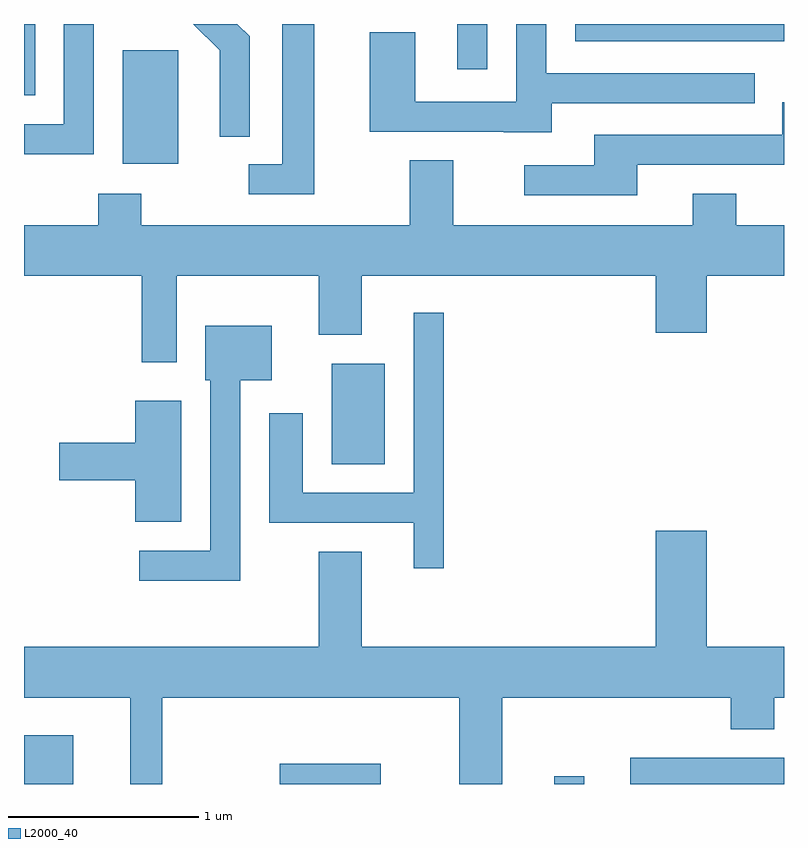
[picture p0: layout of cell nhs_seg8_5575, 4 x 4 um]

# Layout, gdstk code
import gdstk
lib = gdstk.Library(unit=1e-6, precision=1e-09)
def R(c, l, rs):  # rectangles x0, y0, x1, y1
    for r in rs: c.add(gdstk.rectangle(r[:2], r[2:], *l))
def P(c, l, *ps):  # polygons
    for p in ps: c.add(gdstk.Polygon(p, *l))
L2000_40 = (2000, 40)

nhs_seg8_5575 = lib.new_cell('nhs_seg8_5575')
R(nhs_seg8_5575, L2000_40, [(351.611,1900.342,351.869,1900.599), (352.958,1900.342,353.489,1900.449), (354.401,1900.342,354.559,1900.383), (354.803,1900.342,355.611,1900.479), (353.231,1902.026,353.509,1902.554), (352.131,1903.606,352.424,1904.204), (351.611,1903.966,351.669,1904.342), (353.891,1904.103,354.049,1904.342), (354.511,1904.251,355.611,1904.342)])
P(nhs_seg8_5575, L2000_40, [(351.979,1904.342),(351.821,1904.342),(351.821,1903.814),(351.611,1903.814),(351.611,1903.656),(351.979,1903.656)],
  [(354.389,1903.926),(355.458,1903.926),(355.458,1904.084),(354.359,1904.084),(354.359,1904.342),(354.201,1904.342),(354.201,1903.934),(353.669,1903.934),(353.669,1904.299),(353.431,1904.299),(353.431,1903.776),(354.135,1903.776),(354.135,1903.771),(354.389,1903.771)],
  [(353.139,1904.342),(352.971,1904.342),(352.971,1903.604),(352.793,1903.604),(352.793,1903.446),(353.139,1903.446)],
  [(352.799,1904.277),(352.734,1904.342),(352.503,1904.342),(352.641,1904.204),(352.641,1903.748),(352.799,1903.748)],
  [(354.839,1903.601),(355.611,1903.601),(355.611,1903.929),(355.601,1903.929),(355.601,1903.759),(354.611,1903.759),(354.611,1903.599),(354.243,1903.599),(354.243,1903.441),(354.839,1903.441)],
  [(352.414,1903.016),(353.161,1903.016),(353.161,1902.706),(353.389,1902.706),(353.389,1903.016),(354.936,1903.016),(354.936,1902.716),(355.204,1902.716),(355.204,1903.016),(355.611,1903.016),(355.611,1903.284),(355.359,1903.284),(355.359,1903.449),(355.131,1903.449),(355.131,1903.284),(353.869,1903.284),(353.869,1903.624),(353.641,1903.624),(353.641,1903.284),(352.229,1903.284),(352.229,1903.449),(352.001,1903.449),(352.001,1903.284),(351.611,1903.284),(351.611,1903.016),(352.231,1903.016),(352.231,1902.561),(352.414,1902.561)],
  [(353.819,1902.823),(353.661,1902.823),(353.661,1901.874),(353.079,1901.874),(353.079,1902.294),(352.901,1902.294),(352.901,1901.716),(353.661,1901.716),(353.661,1901.478),(353.819,1901.478)],
  [(352.749,1902.466),(352.914,1902.466),(352.914,1902.754),(352.566,1902.754),(352.566,1902.466),(352.591,1902.466),(352.591,1901.569),(352.218,1901.569),(352.218,1901.411),(352.749,1901.411)],
  [(352.439,1902.359),(352.196,1902.359),(352.196,1902.139),(351.796,1902.139),(351.796,1901.941),(352.196,1901.941),(352.196,1901.721),(352.439,1901.721)],
  [(352.339,1900.796),(353.901,1900.796),(353.901,1900.342),(354.129,1900.342),(354.129,1900.796),(355.331,1900.796),(355.331,1900.631),(355.559,1900.631),(355.559,1900.796),(355.611,1900.796),(355.611,1901.064),(355.204,1901.064),(355.204,1901.674),(354.936,1901.674),(354.936,1901.064),(353.389,1901.064),(353.389,1901.564),(353.161,1901.564),(353.161,1901.064),(351.611,1901.064),(351.611,1900.796),(352.171,1900.796),(352.171,1900.342),(352.339,1900.342)])

lib.write_gds('nhs_seg8_5575.gds')
